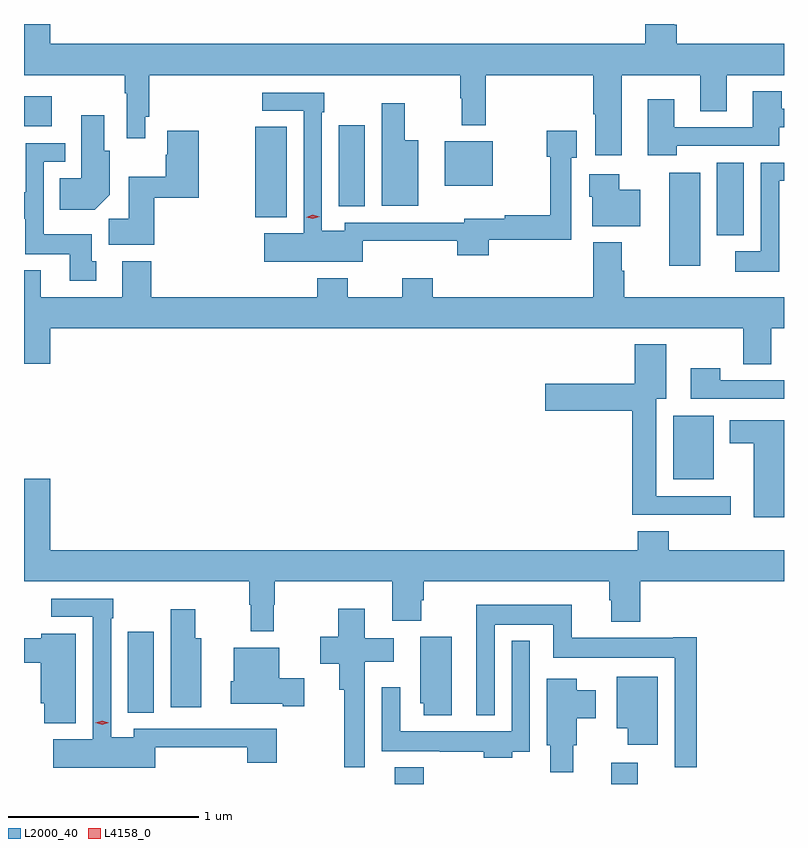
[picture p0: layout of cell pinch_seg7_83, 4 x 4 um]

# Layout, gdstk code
import gdstk
lib = gdstk.Library(unit=1e-6, precision=1e-09)
def R(c, l, rs):  # rectangles x0, y0, x1, y1
    for r in rs: c.add(gdstk.rectangle(r[:2], r[2:], *l))
def P(c, l, *ps):  # polygons
    for p in ps: c.add(gdstk.Polygon(p, *l))
L2000_40 = (2000, 40)
L4158_0 = (4158, 0)

pinch_seg7_83 = lib.new_cell('pinch_seg7_83')
R(pinch_seg7_83, L2000_40, [(886.265,1051.497,886.418,1051.585), (887.405,1051.497,887.545,1051.609), (884.861,1051.873,884.998,1052.299), (887.732,1053.101,887.944,1053.436), (887.711,1054.224,887.872,1054.714), (887.96,1054.385,888.103,1054.768), (885.53,1054.481,885.697,1054.955), (885.971,1054.537,886.108,1054.963), (886.529,1054.646,886.78,1054.879), (884.314,1054.958,884.461,1055.116)])
P(pinch_seg7_83, L2000_40, [(887.461,1055.228),(887.873,1055.228),(887.873,1055.038),(888.013,1055.038),(888.013,1055.228),(888.314,1055.228),(888.314,1055.392),(887.75,1055.392),(887.75,1055.492),(887.737,1055.492),(887.737,1055.497),(887.585,1055.497),(887.585,1055.392),(884.452,1055.392),(884.452,1055.497),(884.314,1055.497),(884.314,1055.228),(884.844,1055.228),(884.844,1055.132),(884.856,1055.132),(884.856,1054.896),(884.952,1054.896),(884.952,1055.008),(884.972,1055.008),(884.972,1055.228),(886.609,1055.228),(886.609,1055.105),(886.617,1055.105),(886.617,1054.965),(886.745,1054.965),(886.745,1055.228),(887.309,1055.228),(887.309,1055.023),(887.321,1055.023),(887.321,1054.806),(887.461,1054.806)],
  [(887.75,1054.857),(888.289,1054.857),(888.289,1054.953),(888.314,1054.953),(888.314,1055.05),(888.302,1055.05),(888.302,1055.143),(888.149,1055.143),(888.149,1054.953),(887.737,1054.953),(887.737,1055.101),(887.597,1055.101),(887.597,1054.806),(887.75,1054.806)],
  [(886.098,1054.355),(886.595,1054.355),(886.595,1054.28),(886.76,1054.28),(886.76,1054.362),(887.193,1054.362),(887.193,1054.793),(887.224,1054.793),(887.224,1054.935),(887.066,1054.935),(887.066,1054.798),(887.085,1054.798),(887.085,1054.49),(886.843,1054.49),(886.843,1054.471),(886.632,1054.471),(886.632,1054.452),(886.002,1054.452),(886.002,1054.408),(885.882,1054.408),(885.882,1055.033),(885.895,1055.033),(885.895,1055.136),(885.567,1055.136),(885.567,1055.04),(885.786,1055.04),(885.786,1054.396),(885.579,1054.396),(885.579,1054.247),(886.098,1054.247)],
  [(886.39,1054.885),(886.318,1054.885),(886.318,1055.08),(886.196,1055.08),(886.196,1054.541),(886.39,1054.541)],
  [(884.764,1054.598),(884.764,1054.83),(884.737,1054.83),(884.737,1055.017),(884.615,1055.017),(884.615,1054.684),(884.503,1054.684),(884.503,1054.52),(884.686,1054.52)],
  [(884.999,1054.583),(885.234,1054.583),(885.234,1054.936),(885.068,1054.936),(885.068,1054.808),(885.061,1054.808),(885.061,1054.693),(884.864,1054.693),(884.864,1054.472),(884.759,1054.472),(884.759,1054.334),(884.999,1054.334)],
  [(884.695,1054.248),(884.671,1054.248),(884.671,1054.39),(884.418,1054.39),(884.418,1054.773),(884.53,1054.773),(884.53,1054.869),(884.322,1054.869),(884.322,1054.612),(884.314,1054.612),(884.314,1054.472),(884.32,1054.472),(884.32,1054.286),(884.555,1054.286),(884.555,1054.146),(884.695,1054.146)],
  [(888.288,1054.671),(888.314,1054.671),(888.314,1054.767),(888.192,1054.767),(888.192,1054.3),(888.057,1054.3),(888.057,1054.193),(888.288,1054.193)],
  [(887.557,1054.624),(887.446,1054.624),(887.446,1054.705),(887.288,1054.705),(887.288,1054.587),(887.306,1054.587),(887.306,1054.433),(887.557,1054.433)],
  [(888.247,1053.896),(888.314,1053.896),(888.314,1054.06),(887.474,1054.06),(887.474,1054.199),(887.461,1054.199),(887.461,1054.348),(887.309,1054.348),(887.309,1054.06),(886.466,1054.06),(886.466,1054.159),(886.306,1054.159),(886.306,1054.06),(886.017,1054.06),(886.017,1054.159),(885.857,1054.159),(885.857,1054.06),(884.984,1054.06),(884.984,1054.249),(884.831,1054.249),(884.831,1054.06),(884.401,1054.06),(884.401,1054.201),(884.314,1054.201),(884.314,1053.708),(884.452,1053.708),(884.452,1053.896),(888.1,1053.896),(888.1,1053.706),(888.247,1053.706)],
  [(888.034,1053.012),(887.641,1053.012),(887.641,1053.524),(887.695,1053.524),(887.695,1053.811),(887.528,1053.811),(887.528,1053.603),(887.058,1053.603),(887.058,1053.461),(887.516,1053.461),(887.516,1052.915),(888.034,1052.915)],
  [(888.314,1053.621),(887.979,1053.621),(887.979,1053.685),(887.823,1053.685),(887.823,1053.525),(888.314,1053.525)],
  [(888.314,1053.412),(888.029,1053.412),(888.029,1053.29),(888.155,1053.29),(888.155,1052.9),(888.314,1052.9)],
  [(885.628,1052.441),(885.635,1052.441),(885.635,1052.564),(886.253,1052.564),(886.253,1052.356),(886.405,1052.356),(886.405,1052.465),(886.418,1052.465),(886.418,1052.564),(887.393,1052.564),(887.393,1052.463),(887.405,1052.463),(887.405,1052.351),(887.558,1052.351),(887.558,1052.564),(888.314,1052.564),(888.314,1052.728),(887.708,1052.728),(887.708,1052.827),(887.543,1052.827),(887.543,1052.728),(884.452,1052.728),(884.452,1053.103),(884.314,1053.103),(884.314,1052.564),(885.499,1052.564),(885.499,1052.441),(885.507,1052.441),(885.507,1052.301),(885.628,1052.301)],
  [(885.004,1051.691),(885.49,1051.691),(885.49,1051.608),(885.645,1051.608),(885.645,1051.789),(885.405,1051.789),(885.405,1051.788),(884.891,1051.788),(884.891,1051.744),(884.772,1051.744),(884.772,1052.369),(884.785,1052.369),(884.785,1052.472),(884.457,1052.472),(884.457,1052.376),(884.676,1052.376),(884.676,1051.732),(884.469,1051.732),(884.469,1051.583),(885.004,1051.583)],
  [(887.855,1052.269),(887.732,1052.269),(887.732,1052.266),(887.198,1052.266),(887.198,1052.44),(886.694,1052.44),(886.694,1051.859),(886.791,1051.859),(886.791,1052.336),(887.1,1052.336),(887.1,1052.162),(887.739,1052.162),(887.739,1051.584),(887.855,1051.584)],
  [(886.107,1052.141),(886.261,1052.141),(886.261,1052.263),(886.108,1052.263),(886.108,1052.419),(885.967,1052.419),(885.967,1052.271),(885.872,1052.271),(885.872,1052.129),(885.974,1052.129),(885.974,1051.994),(885.999,1051.994),(885.999,1051.584),(886.107,1051.584)],
  [(885.247,1052.263),(885.216,1052.263),(885.216,1052.416),(885.086,1052.416),(885.086,1051.902),(885.247,1051.902)],
  [(884.587,1052.287),(884.406,1052.287),(884.406,1052.263),(884.314,1052.263),(884.314,1052.134),(884.402,1052.134),(884.402,1051.923),(884.42,1051.923),(884.42,1051.817),(884.587,1051.817)],
  [(886.564,1052.271),(886.4,1052.271),(886.4,1051.923),(886.418,1051.923),(886.418,1051.86),(886.564,1051.86)],
  [(886.885,1051.668),(886.977,1051.668),(886.977,1052.251),(886.881,1052.251),(886.881,1051.774),(886.293,1051.774),(886.293,1052.005),(886.197,1052.005),(886.197,1051.67),(886.501,1051.67),(886.501,1051.668),(886.733,1051.668),(886.733,1051.634),(886.885,1051.634)],
  [(885.79,1052.054),(885.658,1052.054),(885.658,1052.215),(885.419,1052.215),(885.419,1052.037),(885.401,1052.037),(885.401,1051.919),(885.677,1051.919),(885.677,1051.907),(885.79,1051.907)],
  [(887.65,1052.062),(887.435,1052.062),(887.435,1051.79),(887.492,1051.79),(887.492,1051.704),(887.65,1051.704)],
  [(887.206,1051.701),(887.224,1051.701),(887.224,1051.843),(887.323,1051.843),(887.323,1051.99),(887.224,1051.99),(887.224,1052.05),(887.066,1052.05),(887.066,1051.701),(887.084,1051.701),(887.084,1051.56),(887.206,1051.56)])
P(pinch_seg7_83, L4158_0, [(884.725,1051.81),(884.69,1051.82),(884.69,1051.82),(884.69,1051.82),(884.725,1051.83),(884.76,1051.82),(884.76,1051.82),(884.76,1051.82)],
  [(885.835,1054.472),(885.8,1054.48),(885.8,1054.481),(885.8,1054.481),(885.835,1054.492),(885.87,1054.483),(885.87,1054.483),(885.87,1054.482)])

lib.write_gds('pinch_seg7_83.gds')
